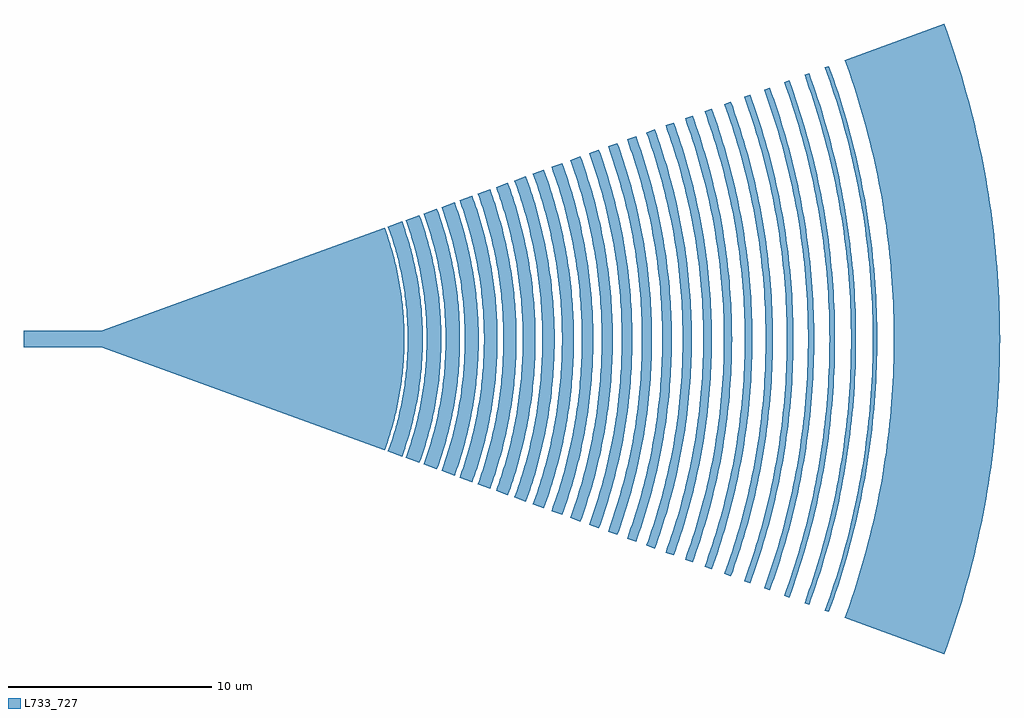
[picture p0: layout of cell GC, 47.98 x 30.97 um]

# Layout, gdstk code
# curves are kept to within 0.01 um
import gdstk
lib = gdstk.Library(unit=1e-6, precision=1e-09)
def P(c, l, *ps):  # polygons
    for p in ps: c.add(gdstk.Polygon(p, *l))
L733_727 = (733, 727)

c_gc = lib.new_cell('GC')
P(c_gc, L733_727, [(14.736,-5.472),(0.8,-0.4),(-3,-0.4),(-3,0.4),(0.8,0.4),(14.736,5.472),(14.961,4.811),(15.156,4.141),(15.322,3.463),(15.458,2.778),(15.564,2.088),(15.64,1.394),(15.686,0.698),(15.701,0),(15.686,-0.698),(15.64,-1.394),(15.564,-2.088),(15.458,-2.778),(15.322,-3.463),(15.156,-4.141),(14.961,-4.811)],
  [(15.587,-5.782),(14.892,-5.529),(15.076,-4.996),(15.279,-4.32),(15.453,-3.637),(15.597,-2.946),(15.71,-2.25),(15.793,-1.549),(15.845,-0.846),(15.867,-0.141),(15.852,0.705),(15.806,1.409),(15.747,1.97),(15.646,2.668),(15.514,3.361),(15.352,4.048),(15.161,4.727),(14.892,5.529),(15.587,5.782),(15.824,5.084),(16.031,4.376),(16.206,3.659),(16.35,2.936),(16.481,2.06),(16.555,1.326),(16.591,0.737),(16.607,0),(16.591,-0.737),(16.555,-1.326),(16.481,-2.06),(16.35,-2.936),(16.206,-3.659),(16.031,-4.376),(15.824,-5.084)],
  [(16.443,-6.093),(15.765,-5.847),(15.96,-5.283),(16.134,-4.712),(16.289,-4.136),(16.423,-3.554),(16.537,-2.969),(16.63,-2.379),(16.718,-1.639),(16.765,-1.044),(16.796,-0.149),(16.78,0.746),(16.718,1.639),(16.609,2.527),(16.453,3.408),(16.289,4.136),(16.049,4.998),(15.765,5.847),(16.443,6.093),(16.693,5.357),(16.91,4.611),(17.095,3.856),(17.247,3.094),(17.344,2.48),(17.435,1.708),(17.493,0.932),(17.517,0.155),(17.506,-0.622),(17.462,-1.398),(17.365,-2.325),(17.247,-3.094),(17.095,-3.856),(16.91,-4.611),(16.693,-5.357)],
  [(17.303,-6.407),(16.644,-6.167),(16.896,-5.422),(17.075,-4.818),(17.233,-4.209),(17.369,-3.595),(17.484,-2.976),(17.597,-2.197),(17.662,-1.571),(17.706,-0.944),(17.731,0),(17.714,0.786),(17.648,1.728),(17.533,2.665),(17.369,3.595),(17.157,4.514),(16.943,5.271),(16.644,6.167),(17.303,6.407),(17.566,5.633),(17.794,4.848),(17.989,4.054),(18.148,3.253),(18.272,2.445),(18.361,1.633),(18.415,0.817),(18.433,0),(18.415,-0.817),(18.361,-1.633),(18.272,-2.445),(18.148,-3.253),(17.989,-4.054),(17.794,-4.848),(17.566,-5.633)],
  [(18.168,-6.721),(17.527,-6.488),(17.742,-5.862),(17.936,-5.229),(18.107,-4.589),(18.29,-3.782),(18.437,-2.967),(18.529,-2.312),(18.598,-1.653),(18.645,-0.993),(18.671,0),(18.645,0.993),(18.567,1.983),(18.462,2.804),(18.29,3.782),(18.107,4.589),(17.842,5.546),(17.527,6.488),(18.168,6.721),(18.443,5.909),(18.683,5.086),(18.887,4.253),(19.054,3.413),(19.185,2.565),(19.278,1.713),(19.334,0.857),(19.353,0),(19.334,-0.857),(19.278,-1.713),(19.185,-2.565),(19.054,-3.413),(18.887,-4.253),(18.683,-5.086),(18.443,-5.909)],
  [(19.037,-7.038),(18.415,-6.811),(18.641,-6.154),(18.891,-5.322),(19.105,-4.48),(19.25,-3.8),(19.397,-2.944),(19.488,-2.254),(19.554,-1.562),(19.597,-0.869),(19.616,0),(19.588,1.042),(19.507,2.082),(19.397,2.944),(19.25,3.8),(19.024,4.818),(18.796,5.656),(18.415,6.811),(19.037,7.038),(19.326,6.188),(19.577,5.326),(19.79,4.454),(19.966,3.573),(20.102,2.686),(20.2,1.793),(20.259,0.898),(20.278,0),(20.259,-0.898),(20.2,-1.793),(20.102,-2.686),(19.966,-3.573),(19.79,-4.454),(19.577,-5.326),(19.326,-6.188)],
  [(19.912,-7.356),(19.308,-7.136),(19.6,-6.274),(19.855,-5.4),(20.072,-4.516),(20.249,-3.623),(20.388,-2.723),(20.487,-1.819),(20.546,-0.91),(20.566,0),(20.546,0.91),(20.487,1.819),(20.388,2.723),(20.249,3.623),(20.072,4.516),(19.855,5.4),(19.6,6.274),(19.308,7.136),(19.912,7.356),(20.213,6.467),(20.476,5.567),(20.699,4.655),(20.882,3.735),(21.025,2.807),(21.127,1.875),(21.188,0.938),(21.209,0),(21.188,-0.938),(21.127,-1.875),(21.025,-2.807),(20.882,-3.735),(20.699,-4.655),(20.476,-5.567),(20.213,-6.467)],
  [(20.791,-7.676),(20.206,-7.463),(20.512,-6.562),(20.779,-5.648),(21.005,-4.723),(21.191,-3.789),(21.335,-2.848),(21.439,-1.902),(21.501,-0.952),(21.522,0),(21.501,0.952),(21.439,1.902),(21.335,2.848),(21.191,3.789),(21.005,4.723),(20.779,5.648),(20.512,6.562),(20.206,7.463),(20.791,7.676),(21.106,6.749),(21.38,5.809),(21.569,5.049),(21.769,4.09),(21.926,3.124),(22.059,1.956),(22.123,0.979),(22.144,0),(22.123,-0.979),(22.059,-1.956),(21.926,-3.124),(21.769,-4.09),(21.569,-5.049),(21.38,-5.809),(21.106,-6.749)],
  [(21.675,-7.998),(21.11,-7.792),(21.429,-6.851),(21.707,-5.897),(21.944,-4.931),(22.138,-3.956),(22.289,-2.974),(22.397,-1.986),(22.462,-0.994),(22.484,0),(22.462,0.994),(22.397,1.986),(22.289,2.974),(22.138,3.956),(21.944,4.931),(21.707,5.897),(21.429,6.851),(21.11,7.792),(21.675,7.998),(22.003,7.032),(22.288,6.052),(22.531,5.061),(22.73,4.061),(22.885,3.052),(22.996,2.038),(23.063,1.02),(23.085,0),(23.063,-1.02),(22.996,-2.038),(22.885,-3.052),(22.73,-4.061),(22.531,-5.061),(22.288,-6.052),(22.003,-7.032)],
  [(22.564,-8.322),(22.019,-8.123),(22.352,-7.142),(22.642,-6.147),(22.888,-5.14),(23.09,-4.124),(23.248,-3.1),(23.361,-2.07),(23.419,-1.243),(23.451,0),(23.437,0.829),(23.361,2.07),(23.248,3.1),(23.09,4.124),(22.888,5.14),(22.642,6.147),(22.352,7.142),(22.019,8.123),(22.564,8.322),(22.841,7.519),(23.203,6.297),(23.455,5.266),(23.662,4.225),(23.823,3.176),(23.939,2.121),(24.008,1.061),(24.032,0),(24.008,-1.061),(23.939,-2.121),(23.823,-3.176),(23.662,-4.225),(23.455,-5.266),(23.203,-6.297),(22.841,-7.519)],
  [(23.459,-8.647),(22.933,-8.456),(23.28,-7.434),(23.582,-6.399),(23.838,-5.351),(24.049,-4.293),(24.213,-3.227),(24.33,-2.155),(24.401,-1.078),(24.424,0),(24.401,1.078),(24.33,2.155),(24.213,3.227),(24.049,4.293),(23.838,5.351),(23.582,6.399),(23.28,7.434),(22.933,8.456),(23.459,8.647),(23.813,7.603),(24.122,6.544),(24.384,5.472),(24.599,4.39),(24.767,3.3),(24.887,2.204),(24.959,1.103),(24.983,0),(24.959,-1.103),(24.887,-2.204),(24.767,-3.3),(24.599,-4.39),(24.384,-5.472),(24.122,-6.544),(23.813,-7.603)],
  [(24.358,-8.975),(23.853,-8.791),(24.214,-7.729),(24.528,-6.652),(24.794,-5.563),(25.013,-4.463),(25.184,-3.355),(25.306,-2.24),(25.379,-1.121),(25.403,0),(25.379,1.121),(25.306,2.24),(25.184,3.355),(25.013,4.463),(24.794,5.563),(24.528,6.652),(24.214,7.729),(23.853,8.791),(24.358,8.975),(24.726,7.89),(25.047,6.791),(25.319,5.679),(25.542,4.556),(25.716,3.425),(25.841,2.287),(25.916,1.145),(25.941,0),(25.916,-1.145),(25.841,-2.287),(25.716,-3.425),(25.542,-4.556),(25.319,-5.679),(25.047,-6.791),(24.726,-7.89)],
  [(25.263,-9.304),(24.779,-9.128),(25.153,-8.025),(25.479,-6.907),(25.756,-5.776),(25.983,-4.634),(26.16,-3.483),(26.287,-2.326),(26.363,-1.164),(26.389,0),(26.363,1.164),(26.287,2.326),(26.16,3.483),(25.983,4.634),(25.756,5.776),(25.479,6.907),(25.153,8.025),(24.779,9.128),(25.263,9.304),(25.645,8.18),(25.977,7.041),(26.259,5.888),(26.49,4.724),(26.671,3.551),(26.8,2.371),(26.878,1.187),(26.904,0),(26.878,-1.187),(26.8,-2.371),(26.671,-3.551),(26.49,-4.724),(26.259,-5.888),(25.977,-7.041),(25.645,-8.18)],
  [(26.174,-9.635),(25.711,-9.467),(26.099,-8.323),(26.437,-7.164),(26.724,-5.991),(26.959,-4.806),(27.143,-3.613),(27.275,-2.412),(27.354,-1.207),(27.38,0),(27.354,1.207),(27.275,2.412),(27.143,3.613),(26.959,4.806),(26.724,5.991),(26.437,7.164),(26.099,8.323),(25.711,9.467),(26.174,9.635),(26.569,8.471),(26.913,7.291),(27.205,6.097),(27.444,4.892),(27.631,3.677),(27.765,2.455),(27.846,1.229),(27.872,0),(27.846,-1.229),(27.765,-2.455),(27.631,-3.677),(27.444,-4.892),(27.205,-6.097),(26.913,-7.291),(26.569,-8.471)],
  [(27.089,-9.969),(26.648,-9.808),(27.05,-8.623),(27.4,-7.422),(27.698,-6.207),(27.942,-4.98),(28.132,-3.743),(28.268,-2.499),(28.35,-1.251),(28.378,0),(28.35,1.251),(28.268,2.499),(28.132,3.743),(27.942,4.98),(27.698,6.207),(27.4,7.422),(27.05,8.623),(26.648,9.808),(27.089,9.969),(27.498,8.764),(27.854,7.544),(28.156,6.308),(28.404,5.061),(28.598,3.804),(28.736,2.54),(28.819,1.271),(28.847,0),(28.819,-1.271),(28.736,-2.54),(28.598,-3.804),(28.404,-5.061),(28.156,-6.308),(27.854,-7.544),(27.498,-8.764)],
  [(28.011,-10.304),(27.592,-10.151),(28.008,-8.925),(28.37,-7.682),(28.678,-6.424),(28.931,-5.154),(29.128,-3.874),(29.269,-2.587),(29.353,-1.295),(29.382,0),(29.353,1.295),(29.269,2.587),(29.128,3.874),(28.931,5.154),(28.678,6.424),(28.37,7.682),(28.008,8.925),(27.592,10.151),(28.011,10.304),(28.433,9.059),(28.801,7.797),(29.114,6.521),(29.37,5.231),(29.57,3.932),(29.713,2.626),(29.799,1.314),(29.828,0),(29.799,-1.314),(29.713,-2.626),(29.57,-3.932),(29.37,-5.231),(29.114,-6.521),(28.801,-7.797),(28.433,-9.059)],
  [(28.938,-10.641),(28.541,-10.497),(28.972,-9.229),(29.346,-7.943),(29.665,-6.643),(29.926,-5.329),(30.13,-4.006),(30.275,-2.675),(30.363,-1.339),(30.392,0),(30.363,1.339),(30.275,2.675),(30.13,4.006),(29.926,5.329),(29.665,6.643),(29.346,7.943),(28.972,9.229),(28.541,10.497),(28.938,10.641),(29.374,9.356),(29.754,8.053),(30.077,6.734),(30.342,5.403),(30.548,4.061),(30.696,2.712),(30.785,1.357),(30.814,0),(30.785,-1.357),(30.696,-2.712),(30.548,-4.061),(30.342,-5.403),(30.077,-6.734),(29.754,-8.053),(29.374,-9.356)],
  [(29.871,-10.981),(29.497,-10.845),(29.942,-9.535),(30.329,-8.207),(30.658,-6.863),(30.928,-5.506),(31.138,-4.139),(31.289,-2.764),(31.379,-1.383),(31.409,0),(31.379,1.383),(31.289,2.764),(31.138,4.139),(30.928,5.506),(30.658,6.863),(30.329,8.207),(29.942,9.535),(29.497,10.845),(29.871,10.981),(30.321,9.655),(30.713,8.31),(31.046,6.949),(31.32,5.575),(31.533,4.191),(31.685,2.798),(31.777,1.4),(31.807,0),(31.777,-1.4),(31.685,-2.798),(31.533,-4.191),(31.32,-5.575),(31.046,-6.949),(30.713,-8.31),(30.321,-9.655)],
  [(30.81,-11.323),(30.459,-11.195),(30.918,-9.843),(31.318,-8.472),(31.657,-7.085),(31.936,-5.684),(32.153,-4.272),(32.309,-2.853),(32.402,-1.428),(32.433,0),(32.402,1.428),(32.309,2.853),(32.153,4.272),(31.936,5.684),(31.657,7.085),(31.318,8.472),(30.918,9.843),(30.459,11.195),(30.81,11.323),(31.274,9.955),(31.679,8.568),(32.022,7.165),(32.304,5.749),(32.523,4.321),(32.681,2.885),(32.775,1.444),(32.807,0),(32.775,-1.444),(32.681,-2.885),(32.523,-4.321),(32.304,-5.749),(32.022,-7.165),(31.679,-8.568),(31.274,-9.955)],
  [(31.755,-11.667),(31.428,-11.548),(31.719,-10.713),(31.989,-9.871),(32.236,-9.023),(32.461,-8.168),(32.664,-7.308),(32.844,-6.442),(33.001,-5.573),(33.136,-4.699),(33.279,-3.529),(33.382,-2.355),(33.444,-1.178),(33.464,0),(33.444,1.178),(33.382,2.355),(33.279,3.529),(33.136,4.699),(33.001,5.573),(32.844,6.442),(32.664,7.308),(32.461,8.168),(32.236,9.023),(31.989,9.871),(31.719,10.713),(31.428,11.548),(31.755,11.667),(32.233,10.257),(32.65,8.829),(33.004,7.383),(33.294,5.923),(33.52,4.452),(33.682,2.973),(33.78,1.488),(33.812,0),(33.78,-1.488),(33.682,-2.973),(33.52,-4.452),(33.294,-5.923),(33.004,-7.383),(32.65,-8.829),(32.233,-10.257)],
  [(32.706,-12.013),(32.403,-11.903),(32.891,-10.465),(33.154,-9.592),(33.394,-8.714),(33.61,-7.829),(33.803,-6.938),(33.973,-6.043),(34.12,-5.144),(34.278,-3.94),(34.395,-2.73),(34.481,-1.215),(34.502,0),(34.481,1.215),(34.395,2.73),(34.278,3.94),(34.12,5.144),(33.973,6.043),(33.803,6.938),(33.61,7.829),(33.394,8.714),(33.154,9.592),(32.891,10.465),(32.403,11.903),(32.706,12.013),(33.199,10.562),(33.628,9.091),(33.992,7.602),(34.291,6.099),(34.524,4.585),(34.691,3.061),(34.791,1.532),(34.824,0),(34.791,-1.532),(34.691,-3.061),(34.524,-4.585),(34.291,-6.099),(33.992,-7.602),(33.628,-9.091),(33.199,-10.562)],
  [(33.664,-12.361),(33.386,-12.26),(33.695,-11.374),(33.981,-10.48),(34.244,-9.58),(34.483,-8.672),(34.828,-7.147),(35.003,-6.225),(35.154,-5.298),(35.317,-4.058),(35.437,-2.812),(35.513,-1.564),(35.547,0),(35.513,1.564),(35.437,2.812),(35.317,4.058),(35.154,5.298),(35.003,6.225),(34.828,7.147),(34.483,8.672),(34.244,9.58),(33.981,10.48),(33.695,11.374),(33.386,12.26),(33.664,12.361),(34.171,10.868),(34.612,9.354),(34.987,7.823),(35.294,6.276),(35.534,4.718),(35.706,3.15),(35.809,1.577),(35.843,0),(35.809,-1.577),(35.706,-3.15),(35.534,-4.718),(35.294,-6.276),(34.987,-7.823),(34.612,-9.354),(34.171,-10.868)],
  [(34.628,-12.712),(34.375,-12.62),(34.693,-11.708),(34.988,-10.788),(35.425,-9.239),(35.794,-7.672),(35.982,-6.724),(36.146,-5.772),(36.363,-4.177),(36.486,-2.895),(36.565,-1.61),(36.6,0),(36.565,1.61),(36.486,2.895),(36.363,4.177),(36.146,5.772),(35.982,6.724),(35.794,7.672),(35.425,9.239),(34.988,10.788),(34.693,11.708),(34.375,12.62),(34.628,12.712),(35.149,11.177),(35.603,9.62),(35.988,8.045),(36.305,6.454),(36.551,4.851),(36.728,3.239),(36.834,1.621),(36.869,0),(36.834,-1.621),(36.728,-3.239),(36.551,-4.851),(36.305,-6.454),(35.988,-8.045),(35.603,-9.62),(35.149,-11.177)],
  [(35.598,-13.065),(35.371,-12.983),(35.903,-11.414),(36.189,-10.463),(36.451,-9.504),(36.687,-8.539),(36.898,-7.568),(37.193,-5.938),(37.416,-4.297),(37.543,-2.978),(37.624,-1.656),(37.66,0),(37.624,1.656),(37.543,2.978),(37.416,4.297),(37.193,5.938),(36.898,7.568),(36.687,8.539),(36.451,9.504),(36.189,10.463),(35.903,11.414),(35.371,12.983),(35.598,13.065),(36.134,11.487),(36.6,9.887),(36.996,8.268),(37.322,6.634),(37.575,4.986),(37.757,3.329),(37.866,1.666),(37.902,0),(37.866,-1.666),(37.757,-3.329),(37.575,-4.986),(37.322,-6.634),(36.996,-8.268),(36.6,-9.887),(36.134,-11.487)],
  [(36.575,-13.421),(36.374,-13.348),(36.921,-11.736),(37.216,-10.757),(37.485,-9.771),(37.875,-8.114),(38.074,-7.112),(38.247,-6.105),(38.477,-4.418),(38.607,-3.062),(38.704,-1.362),(38.728,0),(38.704,1.362),(38.607,3.062),(38.477,4.418),(38.247,6.105),(38.074,7.112),(37.875,8.114),(37.485,9.771),(37.216,10.757),(36.921,11.736),(36.374,13.348),(36.575,13.421),(37.126,11.8),(37.605,10.156),(38.012,8.493),(38.346,6.814),(38.606,5.122),(38.792,3.42),(38.904,1.712),(38.942,0),(38.904,-1.712),(38.792,-3.42),(38.606,-5.122),(38.346,-6.814),(38.012,-8.493),(37.605,-10.156),(37.126,-11.8)],
  [(42.251,-15.487),(37.351,-13.704),(37.913,-12.048),(38.402,-10.37),(38.818,-8.672),(39.159,-6.957),(39.425,-5.23),(39.615,-3.492),(39.729,-1.748),(39.767,0),(39.729,1.748),(39.615,3.492),(39.425,5.23),(39.159,6.957),(38.818,8.672),(38.402,10.37),(37.913,12.048),(37.351,13.704),(42.251,15.487),(42.642,14.368),(42.886,13.616),(43.228,12.481),(43.439,11.719),(43.731,10.571),(43.908,9.801),(44.073,9.028),(44.294,7.863),(44.484,6.693),(44.594,5.91),(44.691,5.126),(44.809,3.946),(44.871,3.159),(44.939,1.975),(44.975,0.79),(44.982,0),(44.975,-0.79),(44.939,-1.975),(44.871,-3.159),(44.809,-3.946),(44.691,-5.126),(44.594,-5.91),(44.484,-6.693),(44.294,-7.863),(44.073,-9.028),(43.908,-9.801),(43.731,-10.571),(43.439,-11.719),(43.228,-12.481),(42.886,-13.616),(42.642,-14.368)])

lib.write_gds('GC.gds')
